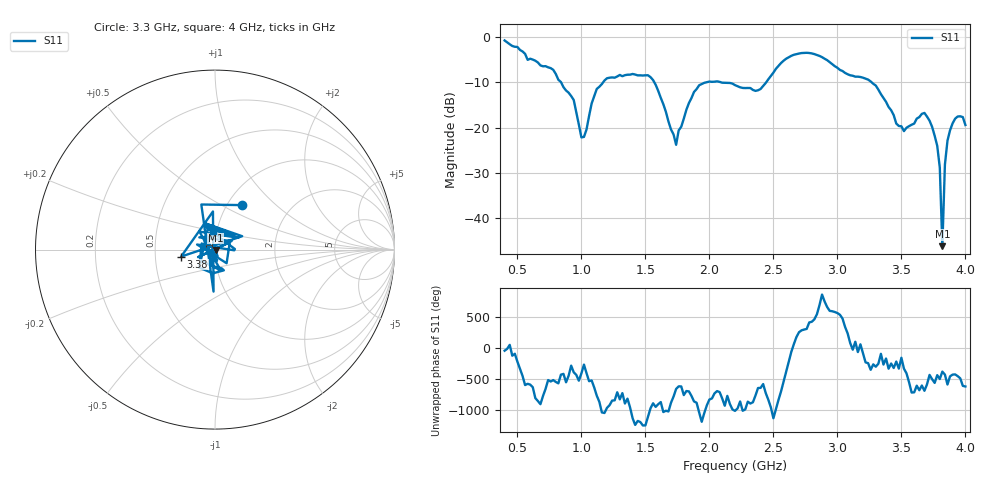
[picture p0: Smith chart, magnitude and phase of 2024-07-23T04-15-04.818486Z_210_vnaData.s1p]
!Created with skrf (http://scikit-rf.org).
# Hz S RI R 50.0
!freq ReS11 ImS11
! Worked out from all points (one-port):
!   181 points, 400 MHz to 4 GHz, reference 50 ohm
!   lowest |S11| = -46.1 dB at 3.82 GHz (marker M1), VSWR 1.01, Z = 50.5 - j0.182 ohm
!   |S11| at or under -10 dB: 1.57 GHz to 1.977 GHz (407.4 MHz wide, 23 % of centre); 2.09 GHz to 2.444 GHz (353.7 MHz wide, 15.6 % of centre); 3.267 GHz to end of sweep (the widest 3 of 4)
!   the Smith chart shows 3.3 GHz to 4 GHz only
!   S11 on the Smith chart (normalised r, x): 3.3 GHz: 1.17, +0.64; 3.38 GHz: 0.68, -0.05; 4 GHz: 0.95, +0.20
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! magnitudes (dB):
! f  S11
! 400 MHz  -0.8
! 780 MHz  -7.2
! 860 MHz  -11.1
! 940 MHz  -13.9
! 1 GHz  -22.2
! 1.02 GHz  -22.1
! 1.12 GHz  -11.5
! 1.3 GHz  -8.4
! 1.54 GHz  -8.9
! 1.74 GHz  -23.8
! 1.76 GHz  -20.6
! 1.92 GHz  -10.7
! 2.2 GHz  -10.6
! 2.38 GHz  -11.8
! 2.66 GHz  -3.9
! 3.1 GHz  -8.5
! 3.3 GHz  -10.7
! 3.38 GHz  -14.3
! 3.46 GHz  -19.1
! 3.56 GHz  -19.7
! 3.68 GHz  -16.8
! 3.76 GHz  -21.8
! 3.8 GHz  -28.8
! 3.82 GHz  -46.1
! 3.84 GHz  -28.2
! 3.86 GHz  -22.9
! 3.92 GHz  -18.0
! 4 GHz  -19.4
